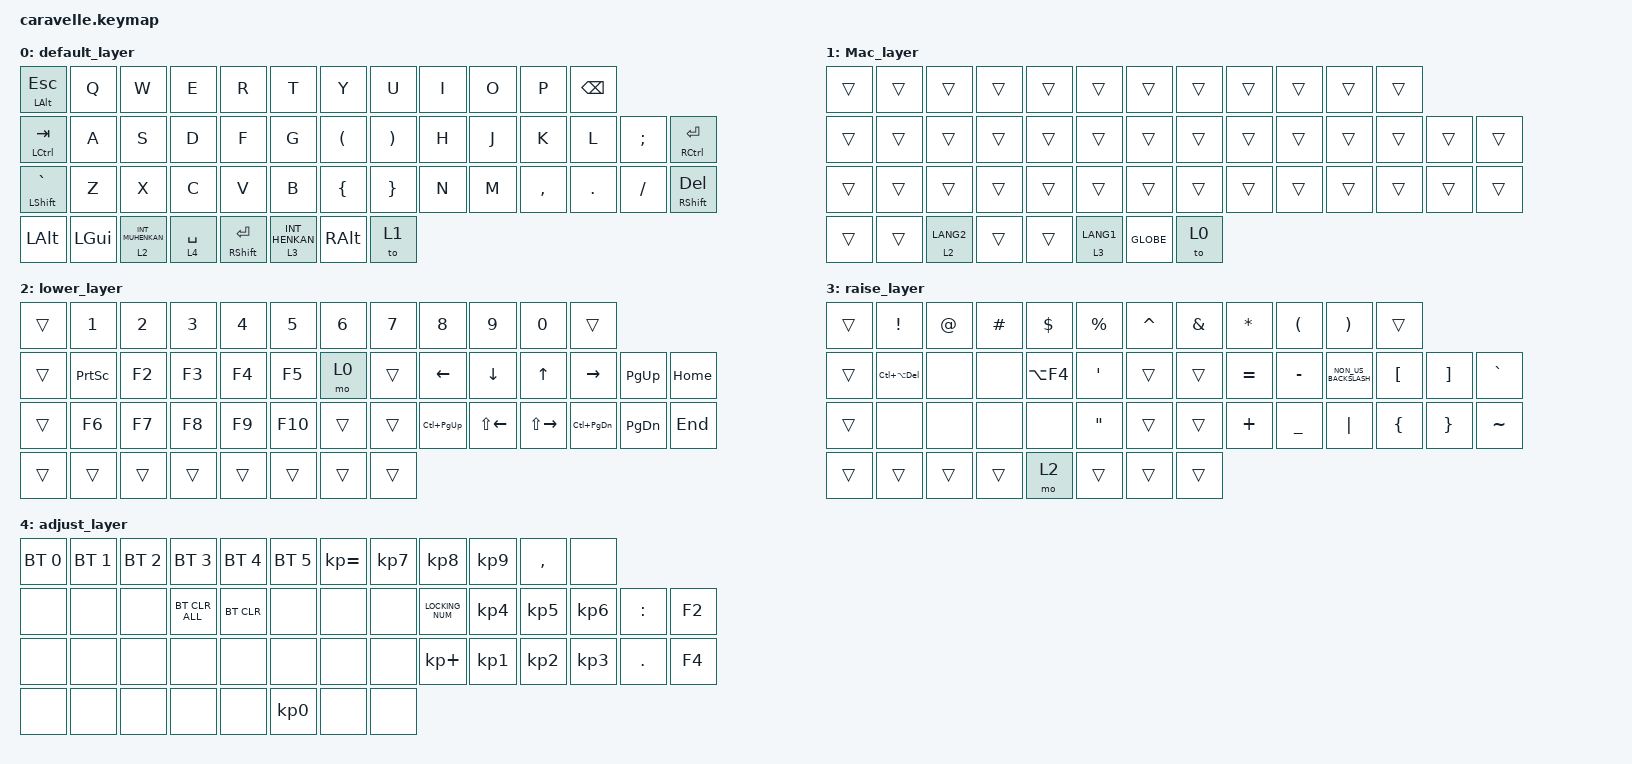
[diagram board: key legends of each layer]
#include <behaviors.dtsi>
#include <dt-bindings/zmk/bt.h>
#include <dt-bindings/zmk/keys.h>

/ {
    // ========== 1. カスタムビヘイビアの定義 ==========
    // デフォルトのMod-Tap(&mt)の挙動を上書きし、QMK風の快適な設定に変更します
    /*
    behaviors {
        mt: mod_tap {
            compatible = "zmk,behavior-hold-tap";
            #binding-cells = <2>;
            
            // --- ここからがカスタマイズ項目です ---

            // タップとホールドを認識する時間。200msに設定。
            tapping-term-ms = <200>;
            
            // 'tap-preferred'フレーバーを選択。
            // これにより、高速でキーを連続入力（ローリング）した際に、
            // ホールド（モディファイア）が誤爆するのを防ぎます。
            // QMKの`IGNORE_MOD_TAP_INTERRUPT`に近い挙動です。
            flavor = "tap-preferred"; 

            // (オプション) この時間内の素早い連続タップは、強制的にタップとして扱います。
            // これにより、スペースキーやエンターキーの連続タップがより確実になります。
            quick-tap-ms = <150>;

            // --- ここまでがカスタマイズ項目です ---

            bindings = <&kp>, <&kp>;
        };

        // Alt + ` マクロ (ALT_GRV) の定義
        // 日本語入力のオンオフで、ChromeでAltキーが暴発するための対策マクロ
        alt_grav_macro: alt_grav_macro {
            compatible = "zmk,behavior-macro";
            #binding-cells = <0>;
            bindings =
                <&macro_press &kp LALT>
                , <&macro_tap &kp GRAVE>
                , <&macro_release &kp LALT>
                ;
        };
    };
    */
    // Definitions moved to #define macros
    // ========== 2. キーマップレイヤーの定義 ==========

    keymap {
        compatible = "zmk,keymap";

        default_layer {
            bindings = <
&mt LEFT_ALT ESC      &kp Q         &kp W               &kp E        &kp R                  &kp T             &kp Y          &kp U     &kp I  &kp O  &kp P      &kp BACKSPACE
&mt LCTRL TAB         &kp A         &kp S               &kp D        &kp F                  &kp G             &kp LPAR       &kp RPAR  &kp H  &kp J  &kp K      &kp L          &kp SEMICOLON  &mt RIGHT_CONTROL ENTER
&mt LEFT_SHIFT GRAVE  &kp Z         &kp X               &kp C        &kp V                  &kp B             &kp LBRC       &kp RBRC  &kp N  &kp M  &kp COMMA  &kp DOT        &kp SLASH      &mt RSHIFT DELETE
&kp LEFT_ALT          &kp LEFT_GUI  &lt 2 INT_MUHENKAN  &lt 4 SPACE  &mt RIGHT_SHIFT ENTER  &lt 3 INT_HENKAN  &kp RIGHT_ALT  &to 1
            >;
        };

        Mac_layer {
            bindings = <
&trans  &trans  &trans       &trans  &trans  &trans       &trans     &trans  &trans  &trans  &trans  &trans
&trans  &trans  &trans       &trans  &trans  &trans       &trans     &trans  &trans  &trans  &trans  &trans  &trans  &trans
&trans  &trans  &trans       &trans  &trans  &trans       &trans     &trans  &trans  &trans  &trans  &trans  &trans  &trans
&trans  &trans  &lt 2 LANG2  &trans  &trans  &lt 3 LANG1  &kp GLOBE  &to 0
            >;
        };

        lower_layer {
            bindings = <
&trans  &kp N1     &kp N2  &kp N3  &kp N4  &kp N5   &kp N6  &kp N7  &kp N8           &kp N9        &kp N0         &trans
&trans  &kp PSCRN  &kp F2  &kp F3  &kp F4  &kp F5   &mo 0   &trans  &kp LEFT         &kp DOWN      &kp UP         &kp RIGHT          &kp PAGE_UP    &kp HOME
&trans  &kp F6     &kp F7  &kp F8  &kp F9  &kp F10  &trans  &trans  &kp LC(PAGE_UP)  &kp LS(LEFT)  &kp LS(RIGHT)  &kp LC(PAGE_DOWN)  &kp PAGE_DOWN  &kp END
&trans  &trans     &trans  &trans  &trans  &trans   &trans  &trans
            >;
        };

        raise_layer {
            bindings = <
&trans  &kp EXCL            &kp AT  &kp HASH  &kp DOLLAR  &kp PERCENT        &kp CARET  &kp AMPERSAND  &kp ASTERISK  &kp LEFT_PARENTHESIS  &kp RIGHT_PARENTHESIS  &trans
&trans  &kp LC(LA(DELETE))  &none   &none     &kp LA(F4)  &kp SQT            &trans     &trans         &kp EQUAL     &kp MINUS             &kp NON_US_BACKSLASH   &kp LEFT_BRACKET  &kp RIGHT_BRACKET  &kp GRAVE
&trans  &none               &none   &none     &none       &kp DOUBLE_QUOTES  &trans     &trans         &kp PLUS      &kp UNDERSCORE        &kp PIPE               &kp LEFT_BRACE    &kp RIGHT_BRACE    &kp TILDE
&trans  &trans              &trans  &trans    &mo 2       &trans             &trans     &trans
            >;
        };

        adjust_layer {
            bindings = <
&bt BT_SEL 0  &bt BT_SEL 1  &bt BT_SEL 2  &bt BT_SEL 3    &bt BT_SEL 4  &bt BT_SEL 5     &kp KP_EQUAL  &kp KP_NUMBER_7  &kp KP_NUMBER_8  &kp KP_NUMBER_9  &kp COMMA        &none
&none         &none         &none         &bt BT_CLR_ALL  &bt BT_CLR    &none            &none         &none            &kp LOCKING_NUM  &kp KP_NUMBER_4  &kp KP_NUMBER_5  &kp KP_NUMBER_6  &kp COLON   &kp F2
&none         &none         &none         &none           &none         &none            &none         &none            &kp KP_PLUS      &kp KP_NUMBER_1  &kp KP_NUMBER_2  &kp KP_NUMBER_3  &kp PERIOD  &kp F4
&none         &none         &none         &none           &none         &kp KP_NUMBER_0  &none         &none
            >;
        };
    };
};
